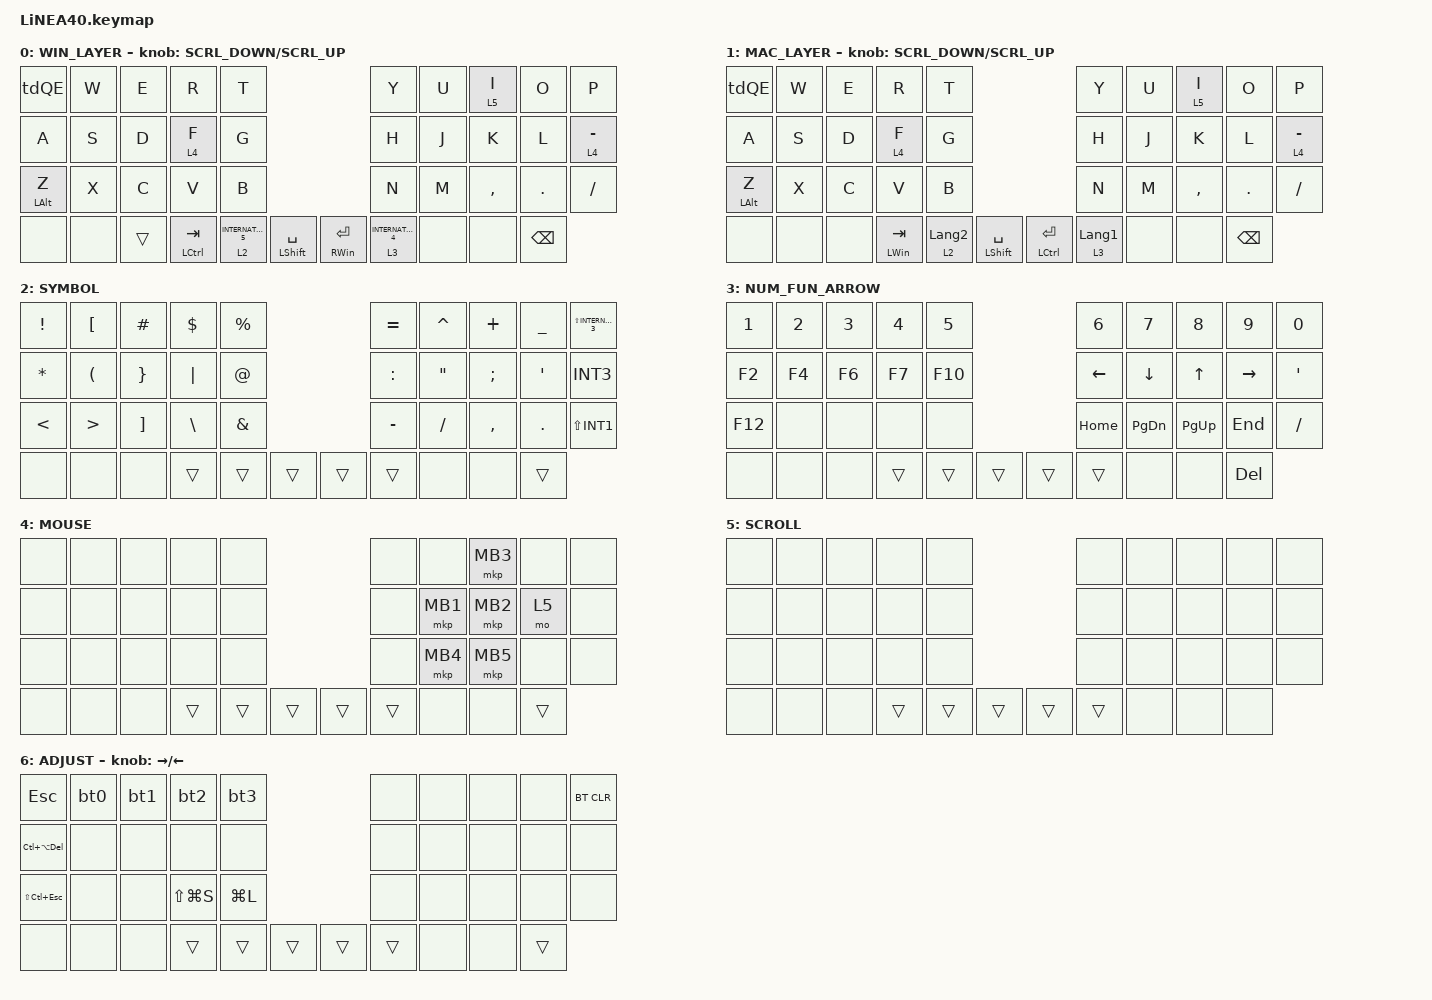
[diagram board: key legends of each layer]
#define ZMK_POINTING_DEFAULT_SCRL_VAL 150

#include <dt-bindings/zmk/input_transform.h>
#include <input/processors.dtsi>
#include <zephyr/dt-bindings/input/input-event-codes.h>
#include <behaviors.dtsi>
#include <dt-bindings/zmk/bt.h>
#include <dt-bindings/zmk/keys.h>
#include <dt-bindings/zmk/pointing.h>

#define MOUSE 1
#define MARK 2
#define CURSOR 3
#define FUNCTION 4
#define SCROLL 5
#define WIRELESS 6

//mouse cursol

&mmv {
    delay-ms = <20>;
    trigger-period-ms = <5>;
    time-to-max-speed-ms = <100>;
    acceleration-exponent = <2>;
};

//mouse scroll

&msc {
    delay-ms = <3>;
    trigger-period-ms = <3>;
    time-to-max-speed-ms = <100>;
    acceleration-exponent = <0>;
};

/ {
    input_processors {
        zip_wheel_scaler: zip_wheel_scaler {
            compatible = "zmk,input-processor-scaler";
            #input-processor-cells = <2>;
            type = <INPUT_EV_REL>;
            codes = <INPUT_REL_WHEEL>;
            track-remainders;
        };
    };
};

&msc_input_listener {
    speed_up {
        layers = <FUNCTION>;
        input-processors = <&zip_wheel_scaler 3 1>; //スクロールを3倍速にする
    };
};

&trackball_listener {
    scroller {
        layers = <SCROLL>;
        input-processors =
            <&zip_xy_transform INPUT_TRANSFORM_Y_INVERT>,
            //スクロール方向を逆転,,,,,,,,,,,,,,
            <&zip_xy_to_scroll_mapper>;
    };
};

/ {
    combos { compatible = "zmk,combos"; };

    behaviors {
        re_kp: sensor_rotate_kp {
            compatible = "zmk,behavior-sensor-rotate-var";
            #sensor-binding-cells = <2>;
            bindings = <&kp>, <&kp>;
        };

        mouse_scrl: mouse_wheel_scrl {
            compatible = "zmk,behavior-sensor-rotate-var";
            #sensor-binding-cells = <2>;
            bindings = <&msc>, <&msc>;

            tap-ms = <20>;
        };

        tdQE: td_Q_ESC {
            compatible = "zmk,behavior-tap-dance";
            label = "TD_Q_ESC";
            #binding-cells = <0>;
            bindings = <&kp Q>, <&kp ESC>;
        };

        tog_on: toggle_layer_on_only {
            compatible = "zmk,behavior-toggle-layer";
            label = "Toggle Layer ON";
            #binding-cells = <1>;
        };

        tog_off: toggle_layer_off_only {
            compatible = "zmk,behavior-toggle-layer";
            label = "Toggle Layer Off";
            #binding-cells = <1>;
            toggle-mode = "off";
        };
    };

    macros {
        bt0: bt0 {
            compatible = "zmk,behavior-macro";
            #binding-cells = <0>;
            bindings =
                <&tog_off 1>,
                <&macro_wait_time 200>,
                <&bt BT_SEL 0>,
                <&macro_wait_time 500>,
                <&tog_on 1>;

            label = "BT0";
        };

        bt1: bt1 {
            compatible = "zmk,behavior-macro";
            #binding-cells = <0>;
            bindings =
                <&tog_off 1>,
                <&macro_wait_time 200>,
                <&bt BT_SEL 1>,
                <&macro_wait_time 500>;

            label = "BT1";
        };

        bt2: bt2 {
            compatible = "zmk,behavior-macro";
            #binding-cells = <0>;
            bindings =
                <&tog_off 1>,
                <&macro_wait_time 200>,
                <&bt BT_SEL 2>,
                <&macro_wait_time 500>;

            label = "BT2";
        };

        bt3: bt3 {
            compatible = "zmk,behavior-macro";
            #binding-cells = <0>;
            bindings =
                <&tog_off 1>,
                <&macro_wait_time 200>,
                <&bt BT_SEL 3>,
                <&macro_wait_time 500>;

            label = "BT3";
        };
    };

    keymap {
        compatible = "zmk,keymap";

        WIN_LAYER {
            bindings = <
&tdQE       &kp W  &kp E   &kp R          &kp T                                                          &kp Y                  &kp U  &lt 5 I    &kp O    &kp P
&kp A       &kp S  &kp D   &lt 4 F        &kp G                                                          &kp H                  &kp J  &kp K      &kp L    &lt 4 MINUS
&mt LALT Z  &kp X  &kp C   &kp V          &kp B                                                          &kp N                  &kp M  &kp COMMA  &kp DOT  &kp SLASH
&none       &none  &trans  &mt LCTRL TAB  &lt 2 INTERNATIONAL_5  &mt LSHFT SPACE    &mt RIGHT_WIN ENTER  &lt 3 INTERNATIONAL_4         &none      &none    &kp BACKSPACE
            >;

            sensor-bindings = <&mouse_scrl SCRL_DOWN SCRL_UP>;
        };

        MAC_LAYER {
            bindings = <
&tdQE       &kp W  &kp E  &kp R             &kp T                                                 &kp Y             &kp U  &lt 5 I    &kp O    &kp P
&kp A       &kp S  &kp D  &lt 4 F           &kp G                                                 &kp H             &kp J  &kp K      &kp L    &lt 4 MINUS
&mt LALT Z  &kp X  &kp C  &kp V             &kp B                                                 &kp N             &kp M  &kp COMMA  &kp DOT  &kp SLASH
&none       &none  &none  &mt LEFT_WIN TAB  &lt 2 LANGUAGE_2  &mt LSHFT SPACE    &mt LCTRL ENTER  &lt 3 LANGUAGE_1         &none      &none    &kp BACKSPACE
            >;

            sensor-bindings = <&mouse_scrl SCRL_DOWN SCRL_UP>;
        };

        SYMBOL {
            bindings = <
&kp EXCLAMATION  &kp LBKT  &kp HASH  &kp DOLLAR  &kp PERCENT                    &kp EQUAL  &kp CARET  &kp PLUS   &kp UNDER  &kp LS(INTERNATIONAL_3)
&kp STAR         &kp LPAR  &kp RBRC  &kp PIPE    &kp AT                         &kp COLON  &kp DQT    &kp SEMI   &kp SQT    &kp INT3
&kp LT           &kp GT    &kp RBKT  &kp BSLH    &kp AMPS                       &kp MINUS  &kp SLASH  &kp COMMA  &kp DOT    &kp LS(INT1)
&none            &none     &none     &trans      &trans       &trans    &trans  &trans                &none      &none      &trans
            >;
        };

        NUM_FUN_ARROW {
            bindings = <
&kp NUMBER_1  &kp NUMBER_2  &kp NUMBER_3  &kp NUMBER_4  &kp NUMBER_5                    &kp NUMBER_6  &kp NUMBER_7  &kp NUMBER_8  &kp NUMBER_9  &kp NUMBER_0
&kp F2        &kp F4        &kp F6        &kp F7        &kp F10                         &kp LEFT      &kp DOWN      &kp UP        &kp RIGHT     &kp SQT
&kp F12       &none         &none         &none         &none                           &kp HOME      &kp PG_DN     &kp PG_UP     &kp END       &kp SLASH
&none         &none         &none         &trans        &trans        &trans    &trans  &trans                      &none         &none         &kp DEL
            >;
        };

        MOUSE {
            bindings = <
&none  &none  &none  &none   &none                     &none   &none     &mkp MB3  &none  &none
&none  &none  &none  &none   &none                     &none   &mkp MB1  &mkp MB2  &mo 5  &none
&none  &none  &none  &none   &none                     &none   &mkp MB4  &mkp MB5  &none  &none
&none  &none  &none  &trans  &trans  &trans    &trans  &trans            &none     &none  &trans
            >;
        };

        SCROLL {
            bindings = <
&none  &none  &none  &none   &none                     &none   &none  &none  &none  &none
&none  &none  &none  &none   &none                     &none   &none  &none  &none  &none
&none  &none  &none  &none   &none                     &none   &none  &none  &none  &none
&none  &none  &none  &trans  &trans  &trans    &trans  &trans         &none  &none  &none
            >;
        };

        ADJUST {
            bindings = <
&kp ESC          &bt0   &bt1   &bt2           &bt3                         &none   &none  &none  &none  &bt BT_CLR
&kp LC(LA(DEL))  &none  &none  &none          &none                        &none   &none  &none  &none  &none
&kp LS(LC(ESC))  &none  &none  &kp LS(LG(S))  &kp LG(L)                    &none   &none  &none  &none  &none
&none            &none  &none  &trans         &trans     &trans    &trans  &trans         &none  &none  &trans
            >;

            sensor-bindings = <&inc_dec_kp RIGHT_ARROW LEFT_ARROW>;
        };
    };

    conditional_layers {
        compatible = "zmk,conditional-layers";

        ADJUST {
            if-layers = <2 3>;
            then-layer = <6>;
        };
    };
};
